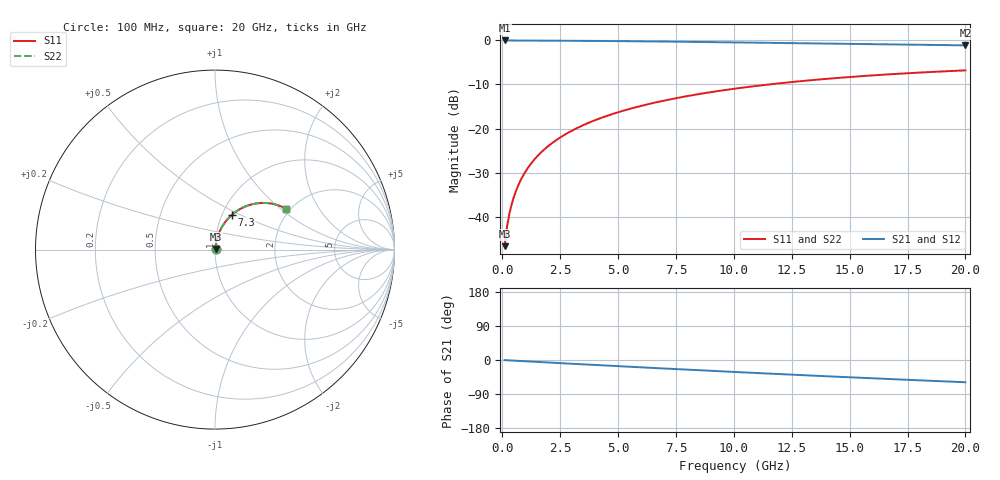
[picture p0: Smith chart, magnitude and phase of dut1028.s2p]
! Touchstone file exported from HFSS 2026.1.0
!  File:  C:/ffzhzh/LocalFiles/Ansys_Project_Files/temp_train_TMRDL_1028_1783159976_18472.aedt
!  Generated:  06:14:15 PM Jul  4, 2026
!  Design:  TMRDL
!  Project:  temp_train_TMRDL_1028_1783159976_18472
! Variables:
!  h_bsmrdl = 2um
!  h_ox = 20um
!  h_rdl = 5um
!  h_sub = 80um
!  h_tmrdl = 5um
!  h_tsv = 80um
!  h_via = 3um
!  l_bsmrdl = 300um
!  l_sub = 1336.28um
!  l_tmrdl = 936.28um
!  m_sub = 200um
!  pitch = 50.68um
!  r_tsv = 6um
!  s_tmrdl = 10um
!  w_bsmrdl = 18um
!  w_sub = 500um
!  w_tmrdl = 23.32um
!  x_tsv_center1 = 947.94um
!  x_tsv_center2 = 1265.94um
!  x_tsv_center3 = 2225.54um
!  x_tsv_center4 = 2543.54um
!  x_tsv_center5 = 3503.14um
!  x_tsv_center6 = 3821.14um
# GHz S MA R 50.000000
! Terminal data exported
! Port[1] = TM_RDL1_1_T1
! Port[2] = TM_RDL1_1_T2
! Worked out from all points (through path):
!   200 points, 100 MHz to 20 GHz, reference 50 ohm
!   highest |S21| = -0.03 dB at 100 MHz (marker M1); lowest = -1.1 dB at 20 GHz (marker M2)
!   group delay of S21, straight-line fit = 8.15 ps
!   lowest |S11| = -46.7 dB at 100 MHz (marker M3), VSWR 1.01, Z = 50.3 + j0.351 ohm
!   |S11| at or under -10 dB: start of sweep to 11.52 GHz
!   |S22| runs from -46.7 to -6.8 dB; largest |S21 - S12| = 5.1e-15
!   S11 on the Smith chart (normalised r, x): 100 MHz: 1.01, +0.01; 7.3 GHz: 1.11, +0.45; 20 GHz: 1.90, +1.09
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0.1  0.004637 48.8  0.997 -0.3  0.997 -0.3  0.004637 48.8
! Gamma 0 0 0 0
! Port Impedance 50 0 50 0
0.2  0.00757 63.8  0.9967 -0.7  0.9967 -0.7  0.00757 63.8
0.3  0.01061 70.0  0.9965 -1.0  0.9965 -1.0  0.01061 70.0
0.4  0.01368 73.5  0.9963 -1.4  0.9963 -1.4  0.01368 73.5
0.5  0.01677 75.7  0.9962 -1.7  0.9962 -1.7  0.01677 75.7
0.7  0.023 78.1  0.9959 -2.3  0.9959 -2.3  0.023 78.1
1  0.03242 79.6  0.9955 -3.3  0.9955 -3.3  0.03242 79.6
1.2  0.03872 79.9  0.9951 -4.0  0.9951 -4.0  0.03872 79.9
1.4  0.045 79.9  0.9947 -4.7  0.9947 -4.7  0.045 79.9
1.7  0.0544 79.6  0.994 -5.6  0.994 -5.6  0.0544 79.6
2  0.06375 79.1  0.9932 -6.6  0.9932 -6.6  0.06375 79.1
2.7  0.08529 77.4  0.9909 -8.9  0.9909 -8.9  0.08529 77.4
3.5  0.1094 75.2  0.9876 -11.5  0.9876 -11.5  0.1094 75.2
4.2  0.13 73.1  0.9844 -13.7  0.9844 -13.7  0.13 73.1
5  0.1529 70.8  0.9804 -16.3  0.9804 -16.3  0.1529 70.8
6.8  0.2024 65.5  0.97 -21.9  0.97 -21.9  0.2024 65.5
7.3  0.2156 64.1  0.9669 -23.4  0.9669 -23.4  0.2156 64.1
8.6  0.2486 60.3  0.9583 -27.3  0.9583 -27.3  0.2486 60.3
10.1  0.2845 56.0  0.9477 -31.8  0.9477 -31.8  0.2845 56.0
13.4  0.3545 46.9  0.9231 -41.2  0.9231 -41.2  0.3545 46.9
16.7  0.4117 38.1  0.8989 -50.2  0.8989 -50.2  0.4117 38.2
20  0.4565 29.8  0.8771 -58.7  0.8771 -58.7  0.4565 29.8
